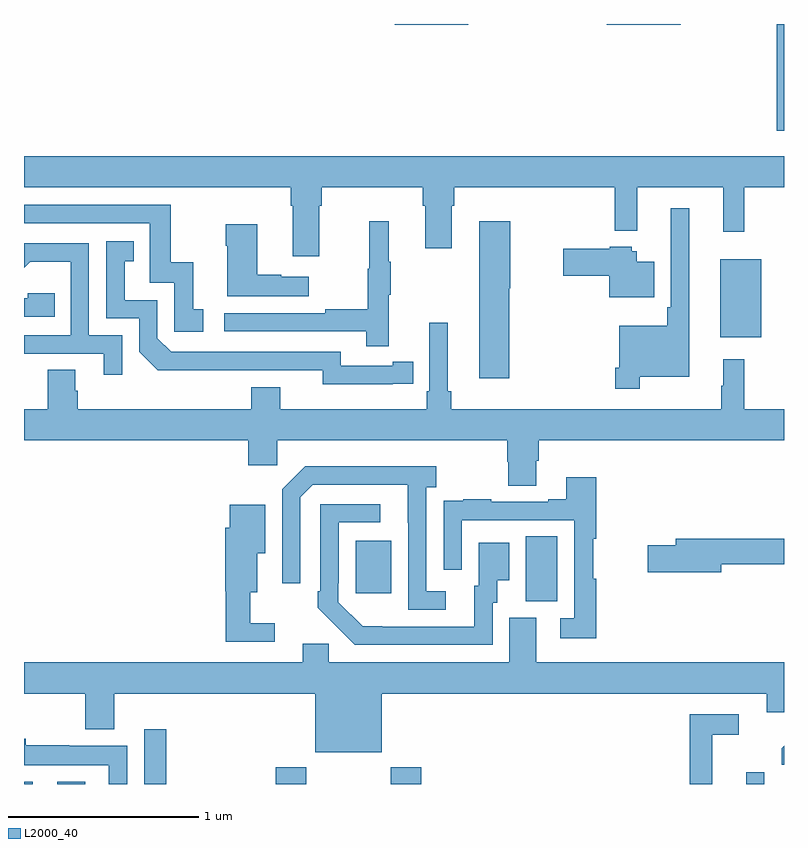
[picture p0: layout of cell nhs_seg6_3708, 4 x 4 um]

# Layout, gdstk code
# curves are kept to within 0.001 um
import gdstk
lib = gdstk.Library(unit=1e-6, precision=1e-09)
def R(c, l, rs):  # rectangles x0, y0, x1, y1
    for r in rs: c.add(gdstk.rectangle(r[:2], r[2:], *l))
def P(c, l, *ps):  # polygons
    for p in ps: c.add(gdstk.Polygon(p, *l))
L2000_40 = (2000, 40)

nhs_seg6_3708 = lib.new_cell('nhs_seg6_3708')
R(nhs_seg6_3708, L2000_40, [(327,973.5,327.046,973.513), (327.176,973.5,327.322,973.513), (327.633,973.5,327.749,973.789), (328.325,973.5,328.485,973.588), (328.93,973.5,329.09,973.588), (330.801,973.5,330.897,973.561), (329.642,974.461,329.806,974.804), (328.745,974.505,328.933,974.779), (330.665,975.851,330.88,976.261), (330.962,976.937,331,977.5), (328.95,977.495,329.338,977.5), (330.068,977.495,330.457,977.5)])
P(nhs_seg6_3708, L2000_40, [(328.555,976.544),(328.568,976.544),(328.568,976.64),(329.099,976.64),(329.099,976.544),(329.111,976.544),(329.111,976.32),(329.251,976.32),(329.251,976.544),(329.264,976.544),(329.264,976.64),(330.109,976.64),(330.109,976.412),(330.227,976.412),(330.227,976.64),(330.68,976.64),(330.68,976.407),(330.79,976.407),(330.79,976.64),(331,976.64),(331,976.804),(327,976.804),(327,976.64),(328.403,976.64),(328.403,976.544),(328.415,976.544),(328.415,976.278),(328.555,976.278)],
  [(327.943,975.999),(327.89,975.999),(327.89,976.246),(327.772,976.246),(327.772,976.548),(327,976.548),(327,976.452),(327.663,976.452),(327.663,976.137),(327.792,976.137),(327.792,975.879),(327.943,975.879)],
  [(330.241,975.644),(330.502,975.644),(330.502,976.531),(330.405,976.531),(330.405,976.009),(330.385,976.009),(330.385,975.913),(330.132,975.913),(330.132,975.691),(330.112,975.691),(330.112,975.579),(330.241,975.579)],
  [(328.919,976.075),(328.93,976.075),(328.93,976.249),(328.919,976.249),(328.919,976.462),(328.816,976.462),(328.816,976.212),(328.809,976.212),(328.809,975.998),(328.585,975.998),(328.585,975.978),(328.053,975.978),(328.053,975.882),(328.801,975.882),(328.801,975.804),(328.919,975.804)],
  [(329.555,976.11),(329.56,976.11),(329.56,976.462),(329.396,976.462),(329.396,975.636),(329.555,975.636)],
  [(328.498,976.171),(328.355,976.171),(328.355,976.181),(328.228,976.181),(328.228,976.447),(328.063,976.447),(328.063,976.334),(328.07,976.334),(328.07,976.067),(328.498,976.067)],
  [(328.94,975.606),(329.048,975.606),(329.048,975.722),(328.94,975.722),(328.94,975.702),(328.668,975.702),(328.668,975.774),(327.774,975.774),(327.702,975.846),(327.702,976.047),(327.529,976.047),(327.529,976.251),(327.578,976.251),(327.578,976.357),(327.432,976.357),(327.432,975.951),(327.606,975.951),(327.606,975.774),(327.704,975.677),(328.572,975.678),(328.572,975.605)],
  [(327.516,975.861),(327.342,975.861),(327.342,976.347),(327,976.347),(327,976.218),(327.032,976.25),(327.246,976.25),(327.246,975.861),(327,975.861),(327,975.765),(327.419,975.765),(327.419,975.654),(327.516,975.654)],
  [(330.316,976.249),(330.226,976.249),(330.226,976.305),(330.198,976.305),(330.198,976.327),(330.084,976.327),(330.084,976.317),(329.838,976.317),(329.838,976.175),(330.08,976.175),(330.08,976.061),(330.316,976.061)],
  [(327.161,976.083),(327.021,976.083),(327.021,976.056),(327,976.056),(327,975.96),(327.161,975.96)],
  [(329.695,975.202),(329.708,975.202),(329.708,975.308),(331,975.308),(331,975.472),(330.79,975.472),(330.79,975.736),(330.68,975.736),(330.68,975.596),(330.669,975.596),(330.669,975.472),(329.249,975.472),(329.249,975.568),(329.23,975.568),(329.23,975.928),(329.133,975.928),(329.133,975.568),(329.12,975.568),(329.12,975.472),(328.348,975.472),(328.348,975.589),(328.196,975.589),(328.196,975.472),(327.284,975.472),(327.284,975.57),(327.271,975.57),(327.271,975.68),(327.124,975.68),(327.124,975.472),(327,975.472),(327,975.308),(328.181,975.308),(328.181,975.177),(328.332,975.177),(328.332,975.308),(329.543,975.308),(329.543,975.195),(329.548,975.195),(329.548,975.07),(329.695,975.07)],
  [(329.221,974.514),(329.118,974.514),(329.118,975.062),(329.17,975.062),(329.17,975.172),(328.48,975.172),(328.359,975.051),(328.359,974.556),(328.455,974.556),(328.455,975.009),(328.521,975.075),(329.021,975.075),(329.022,974.418),(329.221,974.418)],
  [(330.011,974.58),(329.996,974.58),(329.996,974.792),(330.011,974.792),(330.011,975.115),(329.855,975.115),(329.855,974.998),(329.759,974.998),(329.759,974.985),(329.459,974.985),(329.459,974.998),(329.311,974.998),(329.311,974.991),(329.209,974.991),(329.209,974.882),(329.208,974.882),(329.208,974.628),(329.304,974.628),(329.304,974.889),(329.895,974.889),(329.895,974.373),(329.823,974.373),(329.823,974.268),(330.011,974.268)],
  [(329.466,974.454),(329.491,974.454),(329.491,974.573),(329.554,974.573),(329.554,974.77),(329.393,974.77),(329.393,974.544),(329.369,974.544),(329.369,974.328),(328.782,974.329),(328.653,974.457),(328.653,974.557),(328.656,974.557),(328.656,974.877),(328.876,974.877),(328.876,974.973),(328.56,974.973),(328.56,974.515),(328.545,974.515),(328.545,974.427),(328.742,974.232),(329.466,974.232)],
  [(328.321,974.347),(328.192,974.347),(328.192,974.51),(328.228,974.51),(328.228,974.714),(328.27,974.714),(328.27,974.971),(328.082,974.971),(328.082,974.85),(328.058,974.85),(328.058,974.514),(328.063,974.514),(328.063,974.25),(328.321,974.25)],
  [(330.67,974.656),(331,974.656),(331,974.792),(330.431,974.792),(330.431,974.756),(330.282,974.756),(330.282,974.614),(330.67,974.614)],
  [(328.882,973.976),(330.908,973.976),(330.908,973.878),(331,973.878),(331,974.14),(329.695,974.14),(329.695,974.376),(329.555,974.376),(329.555,974.14),(328.605,974.14),(328.605,974.238),(328.466,974.238),(328.466,974.14),(327,974.14),(327,973.976),(327.323,973.976),(327.323,973.787),(327.475,973.787),(327.475,973.976),(328.532,973.976),(328.532,973.667),(328.882,973.667)],
  [(330.623,973.758),(330.763,973.758),(330.763,973.866),(330.505,973.866),(330.505,973.5),(330.623,973.5)],
  [(327.543,973.702),(327.239,973.702),(327.239,973.705),(327.008,973.705),(327.008,973.738),(327,973.738),(327,973.598),(327.447,973.598),(327.447,973.5),(327.543,973.5)],
  [(331,973.702),(330.987,973.689),(330.987,973.601),(331,973.601)])

lib.write_gds('nhs_seg6_3708.gds')
